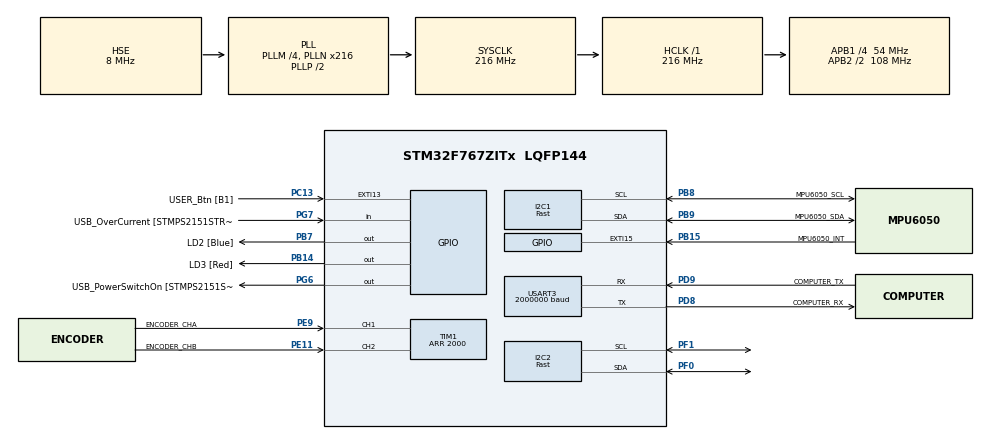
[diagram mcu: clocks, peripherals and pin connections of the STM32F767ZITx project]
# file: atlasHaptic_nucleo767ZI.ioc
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CORTEX_M7.CPU_DCache=Disabled
CORTEX_M7.CPU_ICache=Disabled
CORTEX_M7.PREFETCH_ENABLE=0
Dma.Request0=USART3_TX
Dma.Request1=USART3_RX
Dma.USART3_RX.1.Direction=DMA_PERIPH_TO_MEMORY
Dma.USART3_RX.1.FIFOMode=DMA_FIFOMODE_DISABLE
Dma.USART3_RX.1.Instance=DMA1_Stream1
Dma.USART3_RX.1.MemDataAlignment=DMA_MDATAALIGN_BYTE
Dma.USART3_RX.1.MemInc=DMA_MINC_ENABLE
Dma.USART3_RX.1.Mode=DMA_CIRCULAR
Dma.USART3_RX.1.PeriphDataAlignment=DMA_PDATAALIGN_BYTE
Dma.USART3_RX.1.PeriphInc=DMA_PINC_DISABLE
Dma.USART3_RX.1.Priority=DMA_PRIORITY_LOW
Dma.USART3_TX.0.Direction=DMA_MEMORY_TO_PERIPH
Dma.USART3_TX.0.FIFOMode=DMA_FIFOMODE_DISABLE
Dma.USART3_TX.0.Instance=DMA1_Stream3
Dma.USART3_TX.0.MemDataAlignment=DMA_MDATAALIGN_BYTE
Dma.USART3_TX.0.MemInc=DMA_MINC_ENABLE
Dma.USART3_TX.0.Mode=DMA_NORMAL
Dma.USART3_TX.0.PeriphDataAlignment=DMA_PDATAALIGN_BYTE
Dma.USART3_TX.0.PeriphInc=DMA_PINC_DISABLE
Dma.USART3_TX.0.Priority=DMA_PRIORITY_LOW
I2C1.I2C_Speed_Mode=I2C_Fast
I2C1.Timing=0x6000030D
I2C2.AddressingMode=I2C_ADDRESSINGMODE_7BIT
I2C2.I2C_Speed_Mode=I2C_Fast
I2C2.Timing=0x6000030D
Mcu.Family=STM32F7
Mcu.Name=STM32F767ZITx
Mcu.Package=LQFP144
NVIC.DMA1_Stream1_IRQn=true\:0\:0\:false\:false\:true\:false
NVIC.DMA1_Stream3_IRQn=true\:0\:0\:false\:false\:true\:false
NVIC.EXTI15_10_IRQn=true\:0\:0\:false\:false\:true\:true
NVIC.PriorityGroup=NVIC_PRIORITYGROUP_4
NVIC.USART3_IRQn=true\:0\:0\:false\:false\:true\:true
PA1.GPIO_Label=RMII_REF_CLK [LAN8742A-CZ-TR_REFCLK0]
PA1.Signal=ETH_REF_CLK
PA10.GPIO_Label=USB_ID
PA10.Signal=USB_OTG_FS_ID
PA11.GPIO_Label=USB_DM
PA11.Signal=USB_OTG_FS_DM
PA12.GPIO_Label=USB_DP
PA12.Signal=USB_OTG_FS_DP
PA13.GPIO_Label=TMS
PA13.Mode=Serial_Wire
PA13.Signal=SYS_JTMS-SWDIO
PA14.GPIO_Label=TCK
PA14.Mode=Serial_Wire
PA14.Signal=SYS_JTCK-SWCLK
PA2.GPIO_Label=RMII_MDIO [LAN8742A-CZ-TR_MDIO]
PA2.Signal=ETH_MDIO
PA7.GPIO_Label=RMII_CRS_DV [LAN8742A-CZ-TR_CRS_DV]
PA7.Signal=ETH_CRS_DV
PA8.GPIO_Label=USB_SOF [TP1]
PA8.Signal=USB_OTG_FS_SOF
PA9.GPIO_Label=USB_VBUS
PA9.Signal=USB_OTG_FS_VBUS
PB13.GPIO_Label=RMII_TXD1 [LAN8742A-CZ-TR_TXD1]
PB13.Signal=ETH_TXD1
PB14.GPIO_Label=LD3 [Red]
PB14.Signal=GPIO_Output
PB15.GPIO_Label=MPU6050_INT
PB15.GPIO_ModeDefaultEXTI=GPIO_MODE_IT_FALLING
PB15.Signal=GPXTI15
PB3.GPIO_Label=SWO
PB3.Signal=SYS_JTDO-SWO
PB7.GPIO_Label=LD2 [Blue]
PB7.Signal=GPIO_Output
PB8.GPIO_Label=MPU6050_SCL
PB8.Mode=I2C
PB8.Signal=I2C1_SCL
PB9.GPIO_Label=MPU6050_SDA
PB9.Mode=I2C
PB9.Signal=I2C1_SDA
PC1.GPIO_Label=RMII_MDC [LAN8742A-CZ-TR_MDC]
PC1.Signal=ETH_MDC
PC13.GPIO_Label=USER_Btn [B1]
PC13.GPIO_ModeDefaultEXTI=GPIO_MODE_IT_FALLING
PC13.GPIO_PuPd=GPIO_NOPULL
PC13.Signal=GPXTI13
PC14/OSC32_IN.Mode=LSE-External-Oscillator
PC14/OSC32_IN.Signal=RCC_OSC32_IN
PC15/OSC32_OUT.Mode=LSE-External-Oscillator
PC15/OSC32_OUT.Signal=RCC_OSC32_OUT
PC4.GPIO_Label=RMII_RXD0 [LAN8742A-CZ-TR_RXD0]
PC4.Signal=ETH_RXD0
PC5.GPIO_Label=RMII_RXD1 [LAN8742A-CZ-TR_RXD1]
PC5.Signal=ETH_RXD1
PD8.GPIO_Label=COMPUTER_RX
PD8.Mode=Asynchronous
PD8.Signal=USART3_TX
PD9.GPIO_Label=COMPUTER_TX
PD9.Mode=Asynchronous
PD9.Signal=USART3_RX
PE11.GPIO_Label=ENCODER_CHB
PE11.Signal=S_TIM1_CH2
PE9.GPIO_Label=ENCODER_CHA
PE9.Signal=S_TIM1_CH1
PF0.Mode=I2C
PF0.Signal=I2C2_SDA
PF1.Mode=I2C
PF1.Signal=I2C2_SCL
PG11.GPIO_Label=RMII_TX_EN [LAN8742A-CZ-TR_TXEN]
PG11.Signal=ETH_TX_EN
PG13.GPIO_Label=RMII_TXD0 [LAN8742A-CZ-TR_TXD0]
PG13.Signal=ETH_TXD0
PG6.GPIO_Label=USB_PowerSwitchOn [STMPS2151STR_EN]
PG6.Signal=GPIO_Output
PG7.GPIO_Label=USB_OverCurrent [STMPS2151STR_FAULT]
PG7.Signal=GPIO_Input
PH0/OSC_IN.GPIO_Label=MCO [STM32F103CBT6_PA8]
PH0/OSC_IN.Mode=HSE-External-Clock-Source
PH0/OSC_IN.Signal=RCC_OSC_IN
PH1/OSC_OUT.Mode=HSE-External-Clock-Source
PH1/OSC_OUT.Signal=RCC_OSC_OUT
ProjectManager.HeapSize=0x200
ProjectManager.StackSize=0x400
ProjectManager.TargetToolchain=TrueSTUDIO
RCC.48MHZClocksFreq_Value=24000000
RCC.AHBFreq_Value=216000000
RCC.APB1CLKDivider=RCC_HCLK_DIV4
RCC.APB1Freq_Value=54000000
RCC.APB1TimFreq_Value=108000000
RCC.APB2CLKDivider=RCC_HCLK_DIV2
RCC.APB2Freq_Value=108000000
RCC.APB2TimFreq_Value=216000000
RCC.CortexFreq_Value=216000000
RCC.HCLKFreq_Value=216000000
RCC.HSE_VALUE=8000000
RCC.HSI_VALUE=16000000
RCC.PLLM=4
RCC.PLLMUL=RCC_PLL_MUL9
RCC.PLLN=216
RCC.PLLQ=9
RCC.PLLSourceVirtual=RCC_PLLSOURCE_HSE
RCC.PRESCALERUSB=RCC_USBCLKSOURCE_PLL_DIV1_5
RCC.SYSCLKFreq_VALUE=216000000
RCC.SYSCLKSource=RCC_SYSCLKSOURCE_PLLCLK
RCC.SYSCLKSourceVirtual=RCC_SYSCLKSOURCE_PLLCLK
RCC.USBFreq_Value=48000000
RCC.VCOOutputFreq_Value=432000000
SH.S_TIM1_CH1.0=TIM1_CH1,Encoder_Interface
SH.S_TIM1_CH2.0=TIM1_CH2,Encoder_Interface
TIM1.EncoderMode=TIM_ENCODERMODE_TI12
TIM1.Period=2000
USART3.BaudRate=2000000
USART3.VirtualMode-Asynchronous=VM_ASYNC
USART3.WordLength=WORDLENGTH_8B
board=NUCLEO-F767ZI

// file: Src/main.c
/**
  ******************************************************************************
  * @file           : main.c
  * @brief          : Main program body
  ******************************************************************************
  ** This notice applies to any and all portions of this file
  * that are not between comment pairs USER CODE BEGIN and
  * USER CODE END. Other portions of this file, whether
  * inserted by the user or by software development tools
  * are owned by their respective copyright owners.
  *
  * COPYRIGHT(c) 2018 STMicroelectronics
  *
  * Redistribution and use in source and binary forms, with or without modification,
  * are permitted provided that the following conditions are met:
  *   1. Redistributions of source code must retain the above copyright notice,
  *      this list of conditions and the following disclaimer.
  *   2. Redistributions in binary form must reproduce the above copyright notice,
  *      this list of conditions and the following disclaimer in the documentation
  *      and/or other materials provided with the distribution.
  *   3. Neither the name of STMicroelectronics nor the names of its contributors
  *      may be used to endorse or promote products derived from this software
  *      without specific prior written permission.
  *
  * THIS SOFTWARE IS PROVIDED BY THE COPYRIGHT HOLDERS AND CONTRIBUTORS "AS IS"
  * AND ANY EXPRESS OR IMPLIED WARRANTIES, INCLUDING, BUT NOT LIMITED TO, THE
  * IMPLIED WARRANTIES OF MERCHANTABILITY AND FITNESS FOR A PARTICULAR PURPOSE ARE
  * DISCLAIMED. IN NO EVENT SHALL THE COPYRIGHT HOLDER OR CONTRIBUTORS BE LIABLE
  * FOR ANY DIRECT, INDIRECT, INCIDENTAL, SPECIAL, EXEMPLARY, OR CONSEQUENTIAL
  * DAMAGES (INCLUDING, BUT NOT LIMITED TO, PROCUREMENT OF SUBSTITUTE GOODS OR
  * SERVICES; LOSS OF USE, DATA, OR PROFITS; OR BUSINESS INTERRUPTION) HOWEVER
  * CAUSED AND ON ANY THEORY OF LIABILITY, WHETHER IN CONTRACT, STRICT LIABILITY,
  * OR TORT (INCLUDING NEGLIGENCE OR OTHERWISE) ARISING IN ANY WAY OUT OF THE USE
  * OF THIS SOFTWARE, EVEN IF ADVISED OF THE POSSIBILITY OF SUCH DAMAGE.
  *
  ******************************************************************************
  */
#include "main.h"
#include "stm32f7xx_hal.h"
#include "dma.h"
#include "i2c.h"
#include "tim.h"
#include "usart.h"
#include "gpio.h"

/* USER CODE BEGIN Includes */
#include <stdio.h>
#include <errno.h>
#include <haptic.h>
#include <sys/unistd.h> // STDOUT_FILENO, STDERR_FILENO
#include <string.h>
#include <stdbool.h>
#include "flagSet.h"
#include "hw_MPU6050.h"
#include "experimentConfig.h"
#include "parseConfig.h"

/* USER CODE END Includes */

/* USER CODE BEGIN PV */
/* Private variables ---------------------------------------------------------*/
#define UART_BUFFER_SIZE            512
uint8_t uartBuff[UART_BUFFER_SIZE];
char* jsonBuffer;
/* USER CODE END PV */

void SystemClock_Config(void);

/* USER CODE BEGIN PFP */
/* Private function prototypes -----------------------------------------------*/

/* USER CODE END PFP */

/* USER CODE BEGIN 0 */
hapticFlagSet_t hapticFlagSet;

char asd[] = {'H','E','L','L','O','\r','\n'};
/* USER CODE END 0 */

int main(void)
{

  /* MCU Configuration----------------------------------------------------------*/

  /* Reset of all peripherals, Initializes the Flash interface and the Systick. */
  HAL_Init();

  /* Configure the system clock */
  SystemClock_Config();

  /* Initialize all configured peripherals */
  MX_GPIO_Init();
  MX_DMA_Init();
  MX_USART3_UART_Init();
  MX_I2C1_Init();
  MX_TIM1_Init();
  MX_I2C2_Init();
  /* USER CODE BEGIN 2 */
  //i2c_discover(&hi2c2, 0, 255, 0, 255);
  HAL_NVIC_DisableIRQ(EXTI15_10_IRQn);
  initExperimentConfig();

  initEstimator();
  initMPU6050();
  HAL_TIM_Encoder_Start(&htim1,TIM_CHANNEL_ALL);
  memset(&hapticFlagSet, 0, sizeof(hapticFlagSet));

  HAL_NVIC_EnableIRQ(EXTI15_10_IRQn);
  HAL_UART_Receive_DMA(&huart3, uartBuff, UART_BUFFER_SIZE);
  HAL_GPIO_WritePin(LD3_GPIO_Port, LD3_Pin, GPIO_PIN_RESET);
  /* USER CODE END 2 */

  /* Infinite loop */
  /* USER CODE BEGIN WHILE */
  while (1)
  {
	  static int waitCount = 0;
	  if(experimentConfig.hapticDeviceState == WAITING_JSON && uartBuff[0] == '{')
	  {
		  for(int i=0;i<UART_BUFFER_SIZE;i++)
		  {
			  if(uartBuff[i] == '}')
			  {
				  HAL_UART_DMAStop(&huart3);
				  HAL_GPIO_WritePin(LD3_GPIO_Port, LD3_Pin, GPIO_PIN_SET);
				  if(jsonBuffer!=NULL)
					  free(jsonBuffer);
				  size_t sizeOfJson = (strlen((const char*)uartBuff)+1);
				  jsonBuffer = (char*)malloc(sizeOfJson*sizeof(char));
				  strcpy(jsonBuffer, (const char*)uartBuff);

				  memset(uartBuff, 0, UART_BUFFER_SIZE);
				  HAL_Delay(500);
				  HAL_GPIO_WritePin(LD3_GPIO_Port, LD3_Pin, GPIO_PIN_RESET);
				  HAL_UART_Receive_DMA(&huart3, uartBuff, UART_BUFFER_SIZE);

				  if(parseConfigurationJSON(jsonBuffer))
				  {
					  waitCount = 0;
					  experimentConfig.hapticDeviceState = WAIT_FOR_SPECIFIC_TIME;
				  }
				  break;
			  }
		  }
	  }
	  else if(experimentConfig.hapticDeviceState == WAIT_FOR_SPECIFIC_TIME)
	  {
		  HAL_Delay(1000);
		  waitCount++;
		  HAL_GPIO_TogglePin(LD2_GPIO_Port, LD2_Pin);
		  if(waitCount == 10)
			  experimentConfig.hapticDeviceState = RUNNING;
		  //HAL_NVIC_EnableIRQ(EXTI15_10_IRQn);
	  }
	  else
	  {
		  __NOP();
	  }
  /* USER CODE END WHILE */

  }

}

void SystemClock_Config(void)
{

  RCC_OscInitTypeDef RCC_OscInitStruct;
  RCC_ClkInitTypeDef RCC_ClkInitStruct;
  RCC_PeriphCLKInitTypeDef PeriphClkInitStruct;

    /**Configure the main internal regulator output voltage
    */
  __HAL_RCC_PWR_CLK_ENABLE();

  __HAL_PWR_VOLTAGESCALING_CONFIG(PWR_REGULATOR_VOLTAGE_SCALE1);

    /**Initializes the CPU, AHB and APB busses clocks
    */
  RCC_OscInitStruct.OscillatorType = RCC_OSCILLATORTYPE_HSE;
  RCC_OscInitStruct.HSEState = RCC_HSE_BYPASS;
  RCC_OscInitStruct.PLL.PLLState = RCC_PLL_ON;
  RCC_OscInitStruct.PLL.PLLSource = RCC_PLLSOURCE_HSE;
  RCC_OscInitStruct.PLL.PLLM = 4;
  RCC_OscInitStruct.PLL.PLLN = 216;
  RCC_OscInitStruct.PLL.PLLP = RCC_PLLP_DIV2;
  RCC_OscInitStruct.PLL.PLLQ = 9;
  if (HAL_RCC_OscConfig(&RCC_OscInitStruct) != HAL_OK)
  {
    _Error_Handler(__FILE__, __LINE__);
  }

    /**Activate the Over-Drive mode
    */
  if (HAL_PWREx_EnableOverDrive() != HAL_OK)
  {
    _Error_Handler(__FILE__, __LINE__);
  }

    /**Initializes the CPU, AHB and APB busses clocks
    */
  RCC_ClkInitStruct.ClockType = RCC_CLOCKTYPE_HCLK|RCC_CLOCKTYPE_SYSCLK
                              |RCC_CLOCKTYPE_PCLK1|RCC_CLOCKTYPE_PCLK2;
  RCC_ClkInitStruct.SYSCLKSource = RCC_SYSCLKSOURCE_PLLCLK;
  RCC_ClkInitStruct.AHBCLKDivider = RCC_SYSCLK_DIV1;
  RCC_ClkInitStruct.APB1CLKDivider = RCC_HCLK_DIV4;
  RCC_ClkInitStruct.APB2CLKDivider = RCC_HCLK_DIV2;

  if (HAL_RCC_ClockConfig(&RCC_ClkInitStruct, FLASH_LATENCY_7) != HAL_OK)
  {
    _Error_Handler(__FILE__, __LINE__);
  }

  PeriphClkInitStruct.PeriphClockSelection = RCC_PERIPHCLK_USART3|RCC_PERIPHCLK_I2C1
                              |RCC_PERIPHCLK_I2C2;
  PeriphClkInitStruct.Usart3ClockSelection = RCC_USART3CLKSOURCE_PCLK1;
  PeriphClkInitStruct.I2c1ClockSelection = RCC_I2C1CLKSOURCE_PCLK1;
  PeriphClkInitStruct.I2c2ClockSelection = RCC_I2C2CLKSOURCE_PCLK1;
  if (HAL_RCCEx_PeriphCLKConfig(&PeriphClkInitStruct) != HAL_OK)
  {
    _Error_Handler(__FILE__, __LINE__);
  }

    /**Configure the Systick interrupt time
    */
  HAL_SYSTICK_Config(HAL_RCC_GetHCLKFreq()/1000);

    /**Configure the Systick
    */
  HAL_SYSTICK_CLKSourceConfig(SYSTICK_CLKSOURCE_HCLK);

  /* SysTick_IRQn interrupt configuration */
  HAL_NVIC_SetPriority(SysTick_IRQn, 15, 0);
}

/* USER CODE BEGIN 4 */
void HAL_GPIO_EXTI_Callback(uint16_t GPIO_Pin)
{
	if(GPIO_Pin == USER_Btn_Pin)
	{
		//HAL_GPIO_TogglePin(LD2_GPIO_Port, LD2_Pin);
		experimentConfig.hapticDeviceState = STOPPED;
	}
	else if(GPIO_Pin == MPU6050_INT_Pin)
	{
		hapticLoop();
	}
	else
	{
		__NOP();
	}
}
int __io_putchar(int ch)
{
 uint8_t c;
 c = ch & 0x00FF;
 HAL_UART_Transmit(&huart3, &c, 1,10);
 return ch;
}

int _write(int file,char *ptr, int len)
{
 int DataIdx;
 for(DataIdx= 0; DataIdx< len; DataIdx++)
 {
 __io_putchar(*ptr++);
 }
return len;
}
/* USER CODE END 4 */

void _Error_Handler(char *file, int line)
{
  while(1)
  {
  }
}

/************************ (C) COPYRIGHT STMicroelectronics *****END OF FILE****/
